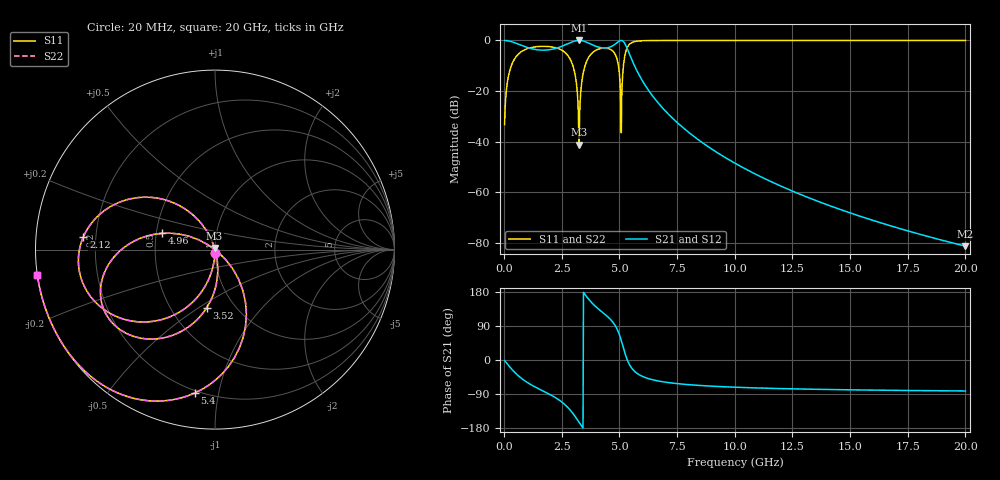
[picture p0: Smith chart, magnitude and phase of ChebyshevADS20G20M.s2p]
! Created Mon Dec 21 16:40:58 2020
# ghz S ri R 50
! 2 Port Network Data from SP1.SP block
! freq  reS11  imS11  reS21  imS21  reS12  imS12  reS22  imS22
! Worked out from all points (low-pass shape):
!   1000 points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, 20 MHz to 20 GHz, reference 50 ohm
!   highest |S21| = 0.00 dB at 3.24 GHz (marker M1); lowest = -81.3 dB at 20 GHz (marker M2)
!   |S21| within 3 dB of the highest: start of sweep to 1.083 GHz; 2.286 GHz to 5.327 GHz (3.041 GHz wide, 79.9 % of centre)
!   lowest |S11| = -41.2 dB at 3.24 GHz (marker M3), VSWR 1.02, Z = 49.7 + j0.829 ohm
!   |S11| at or under -10 dB: start of sweep to 311.1 MHz; 2.981 GHz to 3.508 GHz (527.7 MHz wide, 16.3 % of centre); 4.955 GHz to 5.173 GHz (217.5 MHz wide, 4.3 % of centre)
!   |S22| runs from -41.2 to 0.0 dB; largest |S21 - S12| = 0
!   S11 on the Smith chart (normalised r, x): 20 MHz: 1.00, -0.04; 2.12 GHz: 0.15, +0.05; 3.52 GHz: 0.74, -0.54; 4.96 GHz: 0.54, +0.11; 5.4 GHz: 0.19, -0.85; 20 GHz: 0.00, -0.07
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0.02  -0.000581 -0.0217  0.9994 -0.0267  0.9994 -0.0267  -0.000581 -0.0217
0.22  -0.0657 -0.2214  0.9327 -0.2769  0.9327 -0.2769  -0.0657 -0.2214
0.52  -0.2827 -0.3858  0.7084 -0.5191  0.7084 -0.5191  -0.2827 -0.3858
1.26  -0.6853 -0.2714  0.2488 -0.6283  0.2488 -0.6283  -0.6853 -0.2714
2.12  -0.7336 0.0706  -0.0648 -0.6728  -0.0648 -0.6728  -0.7336 0.0706
2.9  -0.2799 0.2776  -0.6472 -0.6525  -0.6472 -0.6525  -0.2799 0.2776
3.24  -0.00248 0.00833  -0.9583 -0.2857  -0.9583 -0.2857  -0.00248 0.00833
3.36  0.0142 -0.1432  -0.9847 -0.0977  -0.9847 -0.0977  0.0142 -0.1432
3.52  -0.0473 -0.3252  -0.9346 0.1358  -0.9346 0.1358  -0.0473 -0.3252
3.92  -0.3656 -0.4983  -0.6338 0.4651  -0.6338 0.4651  -0.3656 -0.4983
4.46  -0.6294 -0.305  -0.3117 0.6432  -0.3117 0.6432  -0.6294 -0.305
4.8  -0.5459 -0.0227  -0.0348 0.8368  -0.0348 0.8368  -0.5459 -0.0227
4.96  -0.2933 0.0909  0.2818 0.909  0.2818 0.909  -0.2933 0.0909
5.1  0.058 -0.054  0.6793 0.7296  0.6793 0.7296  0.058 -0.054
5.24  0.1562 -0.4919  0.8164 0.2592  0.8164 0.2592  0.1562 -0.4919
5.4  -0.1133 -0.7993  0.5843 -0.0828  0.5843 -0.0828  -0.1133 -0.7993
5.84  -0.606 -0.7665  0.1668 -0.1319  0.1668 -0.1319  -0.606 -0.7665
6.68  -0.8209 -0.5682  0.0331 -0.0478  0.0331 -0.0478  -0.8209 -0.5682
10.02  -0.9502 -0.3115  0.00116 -0.00353  0.00116 -0.00353  -0.9502 -0.3115
13.34  -0.9749 -0.2227  0.000164 -0.000717  0.000164 -0.000717  -0.9749 -0.2227
16.68  -0.9847 -0.1744  3.87e-05 -0.000218  3.87e-05 -0.000218  -0.9847 -0.1744
20  -0.9896 -0.1439  1.23e-05 -8.49e-05  1.23e-05 -8.49e-05  -0.9896 -0.1439
